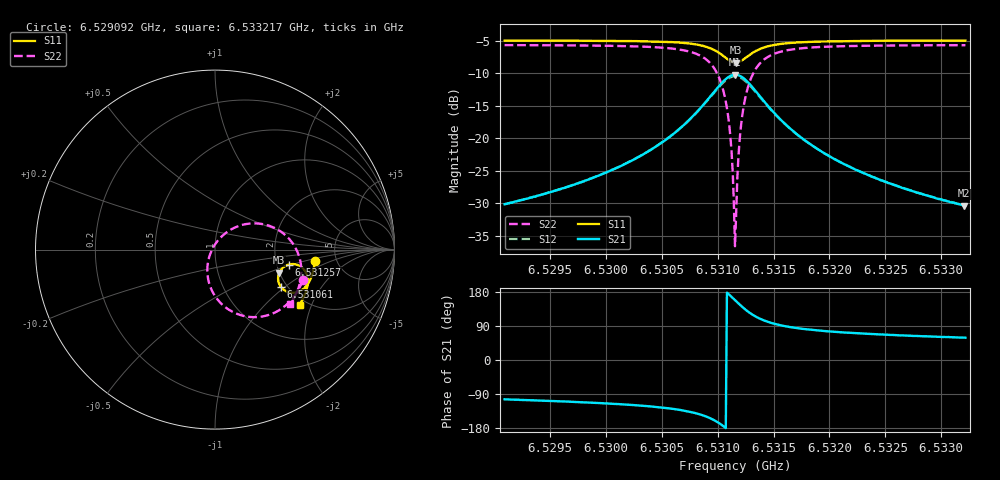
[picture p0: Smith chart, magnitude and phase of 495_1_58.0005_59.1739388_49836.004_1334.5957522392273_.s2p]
#  HZ  S  RI  R  50.00
! Rohde & Schwarz Vector Network Analyzer
! Rohde-Schwarz,ZNB20-2Port,1311601062101988,3.16
! Created: UTC 3/21/2024, 1:12:26 AM
! freq[Hz]  re:S11  im:S11  re:S21  im:S21  re:S12  im:S12  re:S22  im:S22
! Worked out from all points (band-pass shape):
!   401 points, 6.529092 GHz to 6.533217 GHz, reference 50 ohm
!   highest |S21| = -10.25 dB at 6.531154 GHz (marker M1); lowest = -30.3 dB at 6.533206 GHz (marker M2)
!   |S21| within 3 dB of the highest: 6.530949 GHz to 6.531362 GHz (412.7 kHz wide, 0.00632 % of centre)
!   lowest |S11| = -8.4 dB at 6.531165 GHz (marker M3), VSWR 2.23, Z = 99.8 - j30 ohm
!   |S11| at or under -10 dB: nowhere
!   |S22| runs from -36.6 to -5.7 dB; largest |S21 - S12| = 0.012
!   S11 on the Smith chart (normalised r, x): 6.529092 GHz: 3.41, -0.66; 6.531061 GHz: 1.85, -0.93; 6.531257 GHz: 2.33, -0.47; 6.533217 GHz: 1.82, -1.64
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6.5290918e9  0.5569 -0.0662  -0.00739 -0.0303  -0.00805 -0.0302  0.4895 -0.1699
6.5297827e9  0.5461 -0.1235  -0.017 -0.043  -0.0179 -0.0427  0.4585 -0.2344
6.5304736e9  0.517 -0.1919  -0.051 -0.0738  -0.0529 -0.0724  0.377 -0.3246
6.5307108e9  0.4896 -0.2215  -0.0906 -0.0927  -0.0935 -0.0899  0.2962 -0.3651
6.5308861e9  0.4458 -0.2402  -0.159 -0.0989  -0.1611 -0.0926  0.1699 -0.3718
6.5309893e9  0.4012 -0.2343  -0.2281 -0.0722  -0.2275 -0.0628  0.0521 -0.3163
6.5310614e9  0.3665 -0.2066  -0.2794 -0.0133  -0.2735 -0.00372  -0.0253 -0.2093
6.5311027e9  0.3538 -0.1787  -0.295 0.0395  -0.2862 0.0474  -0.0429 -0.1186
6.5311233e9  0.3517 -0.1623  -0.2956 0.0695  -0.2856 0.0758  -0.0388 -0.0691
6.5311439e9  0.3531 -0.1453  -0.2902 0.0999  -0.2794 0.1044  -0.025 -0.0198
6.5311543e9  0.3552 -0.1369  -0.285 0.1149  -0.2741 0.1183  -0.0144 0.00362
6.5311646e9  0.3581 -0.1288  -0.2787 0.1292  -0.2677 0.1316  -0.00158 0.0262
6.5311749e9  0.362 -0.1211  -0.2708 0.1428  -0.2602 0.1442  0.0134 0.0472
6.5311955e9  0.3717 -0.1073  -0.2517 0.1668  -0.2415 0.1666  0.0486 0.0837
6.5312058e9  0.3775 -0.1014  -0.2407 0.1772  -0.2311 0.1761  0.0682 0.0988
6.5312574e9  0.4109 -0.0831  -0.1802 0.2093  -0.1734 0.206  0.1735 0.1425
6.5313296e9  0.4542 -0.0837  -0.1042 0.211  -0.1009 0.2079  0.3012 0.1329
6.5314327e9  0.4915 -0.1063  -0.0393 0.1796  -0.0378 0.1779  0.4075 0.0658
6.5318452e9  0.517 -0.1865  0.0161 0.0865  0.0173 0.0862  0.4807 -0.1277
6.5325361e9  0.4976 -0.2573  0.0181 0.0414  0.0189 0.041  0.4526 -0.2449
6.5332064e9  0.4713 -0.3075  0.0156 0.0261  0.0163 0.0259  0.4187 -0.3049
6.5332167e9  0.4708 -0.3081  0.0158 0.026  0.0162 0.0257  0.4181 -0.3055
